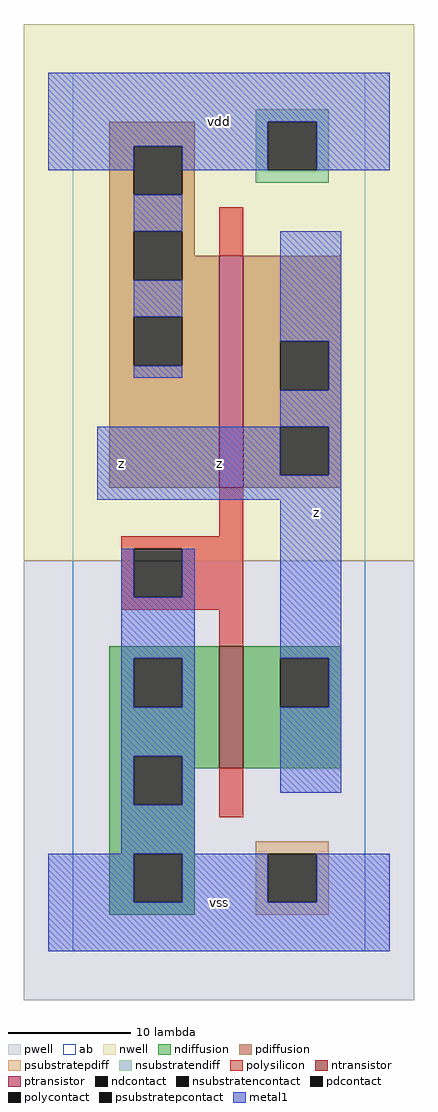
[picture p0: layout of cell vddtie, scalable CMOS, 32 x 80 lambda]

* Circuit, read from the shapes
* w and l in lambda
.subckt vddtie vdd vss z
M1 z vss vss vss nfet w=10 l=2
M2 z vss vdd vdd pfet w=19 l=2
.ends

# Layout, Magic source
magic
tech scmos
<< ab >>
rect 0 0 24 72
<< pwell >>
rect -4 -4 28 32
<< nwell >>
rect -4 32 28 76
<< polysilicon >>
rect 12 57 14 61
rect 12 34 14 38
rect 4 33 14 34
rect 4 29 5 33
rect 9 29 14 33
rect 4 28 14 29
rect 12 25 14 28
rect 12 11 14 15
<< ndiffusion >>
rect 3 24 12 25
rect 3 20 5 24
rect 9 20 12 24
rect 3 16 12 20
rect 3 12 5 16
rect 9 15 12 16
rect 14 24 22 25
rect 14 20 17 24
rect 21 20 22 24
rect 14 15 22 20
rect 9 12 10 15
rect 3 8 10 12
rect 3 4 5 8
rect 9 4 10 8
rect 3 3 10 4
<< pdiffusion >>
rect 3 66 10 68
rect 3 62 5 66
rect 9 62 10 66
rect 3 59 10 62
rect 3 55 5 59
rect 9 57 10 59
rect 9 55 12 57
rect 3 52 12 55
rect 3 48 5 52
rect 9 48 12 52
rect 3 38 12 48
rect 14 50 22 57
rect 14 46 17 50
rect 21 46 22 50
rect 14 43 22 46
rect 14 39 17 43
rect 21 39 22 43
rect 14 38 22 39
<< metal1 >>
rect -2 68 26 72
rect -2 66 16 68
rect -2 64 5 66
rect 9 64 16 66
rect 20 64 26 68
rect 5 59 9 62
rect 5 52 9 55
rect 5 47 9 48
rect 17 50 22 59
rect 21 46 22 50
rect 17 43 22 46
rect 2 39 17 43
rect 21 39 22 43
rect 2 37 22 39
rect 4 29 5 33
rect 9 29 10 33
rect 4 24 10 29
rect 4 20 5 24
rect 9 20 10 24
rect 4 16 10 20
rect 4 12 5 16
rect 9 12 10 16
rect 17 24 22 37
rect 21 20 22 24
rect 17 13 22 20
rect 4 8 10 12
rect -2 4 5 8
rect 9 4 16 8
rect 20 4 26 8
rect -2 0 26 4
<< ntransistor >>
rect 12 15 14 25
<< ptransistor >>
rect 12 38 14 57
<< polycontact >>
rect 5 29 9 33
<< ndcontact >>
rect 5 20 9 24
rect 5 12 9 16
rect 17 20 21 24
rect 5 4 9 8
<< pdcontact >>
rect 5 62 9 66
rect 5 55 9 59
rect 5 48 9 52
rect 17 46 21 50
rect 17 39 21 43
<< psubstratepcontact >>
rect 16 4 20 8
<< nsubstratencontact >>
rect 16 64 20 68
<< psubstratepdiff >>
rect 15 8 21 9
rect 15 4 16 8
rect 20 4 21 8
rect 15 3 21 4
<< nsubstratendiff >>
rect 15 68 21 69
rect 15 64 16 68
rect 20 64 21 68
rect 15 63 21 64
<< labels >>
rlabel metal1 4 40 4 40 6 z
rlabel metal1 12 4 12 4 6 vss
rlabel metal1 12 40 12 40 6 z
rlabel metal1 12 68 12 68 6 vdd
rlabel metal1 20 36 20 36 6 z
<< end >>
